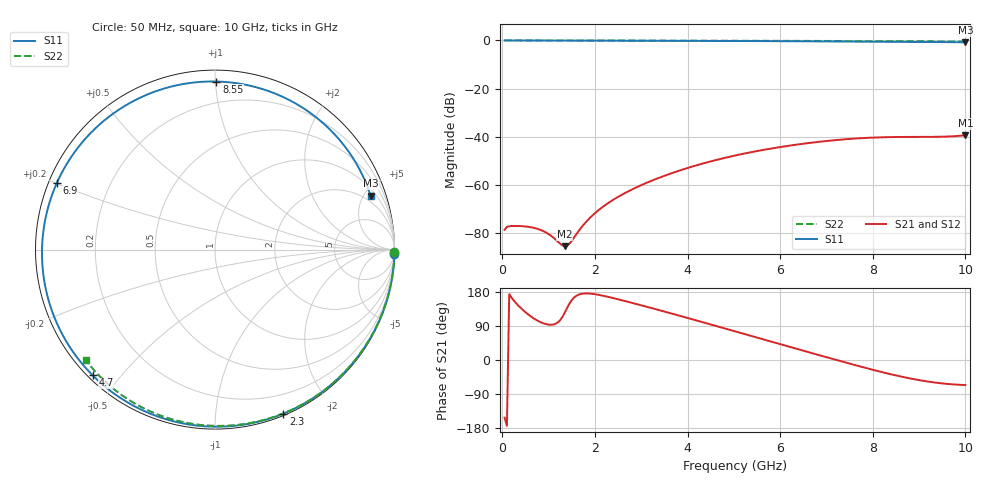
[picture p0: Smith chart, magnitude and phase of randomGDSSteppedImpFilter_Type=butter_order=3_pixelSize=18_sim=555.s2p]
! freq	dB(S11)	phase(S11)	dB(S12)	phase(S12)
!  dB(S21)	phase(S21)	dB(S22)	phase(S22)
!S-par simulation data
#  GHz  S  DB  R 50
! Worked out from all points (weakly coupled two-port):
!   200 points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, 50 MHz to 10 GHz, reference 50 ohm
!   highest |S21| = -39.39 dB at 10 GHz (marker M1); lowest = -85.5 dB at 1.35 GHz (marker M2)
!   lowest |S11| = -0.7 dB at 10 GHz (marker M3), VSWR 23.23, Z = 73.2 + j278 ohm
!   |S11| at or under -10 dB: nowhere
!   |S22| runs from -0.5 to 0.0 dB; largest |S21 - S12| = 0
!   S11 on the Smith chart (normalised r, x): 50 MHz: 0, -76; 2.3 GHz: 0.02, -1.50; 4.7 GHz: 0.01, -0.42; 6.9 GHz: 0.02, +0.20; 8.55 GHz: 0.07, +1.01; 10 GHz: 1.46, +5.56
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0.05  -0.00 -1.5  -78.70 -152.0  -78.70 -152.0  -0.00 -0.8
0.15  -0.00 -4.5  -77.25 173.9  -77.25 173.9  -0.00 -2.4
0.4  -0.01 -12.0  -77.17 137.1  -77.17 137.1  -0.00 -6.4
0.95  -0.03 -28.4  -79.90 94.5  -79.90 94.5  -0.02 -15.3
1.35  -0.05 -40.1  -85.52 125.2  -85.52 125.2  -0.03 -21.6
1.6  -0.06 -47.4  -80.53 169.5  -80.53 169.5  -0.03 -25.5
1.75  -0.07 -51.7  -76.72 175.3  -76.72 175.3  -0.04 -27.9
2.3  -0.09 -67.4  -67.41 166.2  -67.41 166.2  -0.05 -36.4
2.8  -0.10 -81.4  -61.95 150.8  -61.95 150.8  -0.06 -44.0
3.4  -0.13 -98.1  -56.98 131.2  -56.98 131.2  -0.07 -53.0
4.05  -0.16 -116.1  -52.73 109.3  -52.73 109.3  -0.09 -62.5
4.7  -0.20 -134.2  -49.30 86.9  -49.30 86.9  -0.11 -71.7
5.05  -0.22 -144.2  -47.73 74.7  -47.73 74.7  -0.12 -76.6
5.9  -0.29 -169.5  -44.63 45.1  -44.63 45.1  -0.15 -88.1
6.7  -0.37 164.3  -42.44 17.6  -42.44 17.6  -0.19 -98.6
6.9  -0.39 157.3  -42.00 10.8  -42.00 10.8  -0.20 -101.2
7.6  -0.47 130.8  -40.80 -12.8  -40.80 -12.8  -0.25 -110.0
8.35  -0.55 98.7  -40.18 -36.5  -40.18 -36.5  -0.31 -119.3
8.55  -0.57 89.5  -40.13 -42.1  -40.13 -42.1  -0.32 -121.8
9.2  -0.64 58.4  -40.09 -57.1  -40.09 -57.1  -0.38 -129.7
9.6  -0.69 38.7  -39.95 -63.0  -39.95 -63.0  -0.43 -134.6
10  -0.75 19.1  -39.39 -66.1  -39.39 -66.1  -0.47 -139.4
